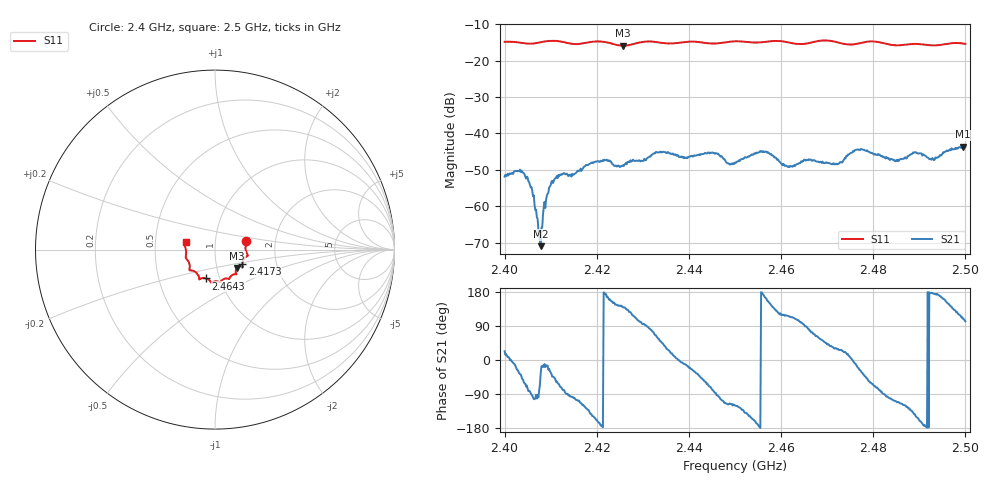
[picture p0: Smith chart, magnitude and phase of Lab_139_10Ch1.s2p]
# Hz S RI R 50
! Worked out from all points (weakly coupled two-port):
!   601 points, 2.4 GHz to 2.5 GHz, reference 50 ohm
!   highest |S21| = -43.66 dB at 2.4995 GHz (marker M1); lowest = -71.0 dB at 2.4078 GHz (marker M2)
!   lowest |S11| = -15.9 dB at 2.4257 GHz (marker M3), VSWR 1.38, Z = 62.4 - j13.1 ohm
!   |S11| at or under -10 dB: start of sweep to end of sweep
!   S12 and S22 are empty: the file has one direction only
!   S11 on the Smith chart (normalised r, x): 2.4 GHz: 1.41, +0.15; 2.4173 GHz: 1.34, -0.23; 2.4643 GHz: 0.86, -0.28; 2.5 GHz: 0.72, +0.06
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2.4e9  0.1735 0.05  0.00235 0.001  0 0  0 0
2.4045e9  0.1705 0.0195  0.00116 -0.00224  0 0  0 0
2.405833e9  0.1703 0.00317  -5.79e-05 -0.00183  0 0  0 0
2.407333e9  0.175 -0.0144  -7.09e-05 -0.000466  0 0  0 0
2.407833e9  0.1773 -0.0195  0.000233 -0.000161  0 0  0 0
2.408833e9  0.1812 -0.0277  0.000897 -0.000305  0 0  0 0
2.4105e9  0.1835 -0.0335  0.0015 -0.00144  0 0  0 0
2.416667e9  0.153 -0.0747  -0.00129 -0.00277  0 0  0 0
2.417333e9  0.1524 -0.0822  -0.00184 -0.00299  0 0  0 0
2.425667e9  0.1224 -0.1023  -0.00276 0.00237  0 0  0 0
2.433333e9  0.113 -0.1368  0.00304 0.00452  0 0  0 0
2.45e9  0.0298 -0.1811  -0.00197 -0.00344  0 0  0 0
2.455833e9  -0.00539 -0.1781  -0.00567 0.000198  0 0  0 0
2.461333e9  -0.027 -0.1764  -0.00158 0.00315  0 0  0 0
2.464333e9  -0.0501 -0.1604  -0.00069 0.00407  0 0  0 0
2.466667e9  -0.0762 -0.1599  0.00121 0.00403  0 0  0 0
2.472e9  -0.0877 -0.1564  0.00329 0.00197  0 0  0 0
2.477167e9  -0.1287 -0.1164  0.00526 -0.00269  0 0  0 0
2.483333e9  -0.1407 -0.0893  -0.000773 -0.00452  0 0  0 0
2.492833e9  -0.1606 -0.0158  -0.00458 0.000285  0 0  0 0
2.4995e9  -0.1662 0.039  -0.00209 0.00622  0 0  0 0
2.5e9  -0.1637 0.0423  -0.00136 0.0064  0 0  0 0
